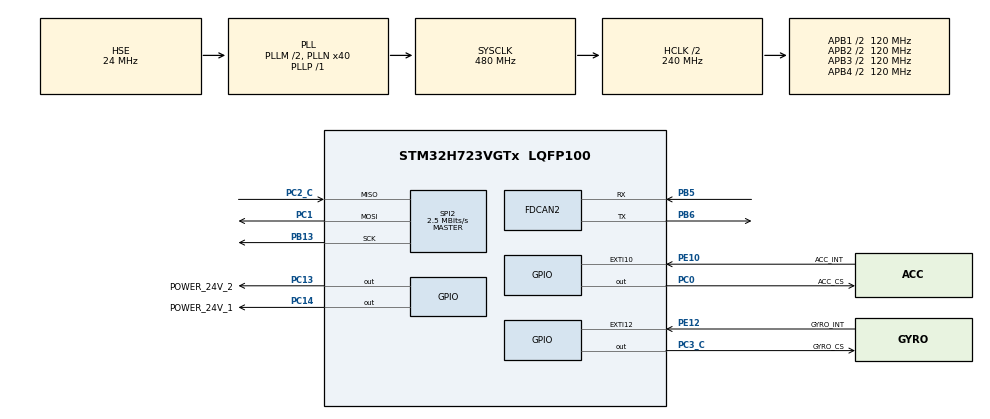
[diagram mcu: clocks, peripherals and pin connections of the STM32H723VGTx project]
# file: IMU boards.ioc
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Dma.Request0=SPI2_RX
Dma.Request1=SPI2_TX
Dma.SPI2_RX.0.Direction=DMA_PERIPH_TO_MEMORY
Dma.SPI2_RX.0.EventEnable=DISABLE
Dma.SPI2_RX.0.FIFOMode=DMA_FIFOMODE_DISABLE
Dma.SPI2_RX.0.Instance=DMA1_Stream0
Dma.SPI2_RX.0.MemDataAlignment=DMA_MDATAALIGN_BYTE
Dma.SPI2_RX.0.MemInc=DMA_MINC_ENABLE
Dma.SPI2_RX.0.Mode=DMA_NORMAL
Dma.SPI2_RX.0.PeriphDataAlignment=DMA_PDATAALIGN_BYTE
Dma.SPI2_RX.0.PeriphInc=DMA_PINC_DISABLE
Dma.SPI2_RX.0.Polarity=HAL_DMAMUX_REQ_GEN_RISING
Dma.SPI2_RX.0.Priority=DMA_PRIORITY_VERY_HIGH
Dma.SPI2_RX.0.RequestNumber=1
Dma.SPI2_RX.0.SignalID=NONE
Dma.SPI2_RX.0.SyncEnable=DISABLE
Dma.SPI2_RX.0.SyncPolarity=HAL_DMAMUX_SYNC_NO_EVENT
Dma.SPI2_RX.0.SyncRequestNumber=1
Dma.SPI2_RX.0.SyncSignalID=NONE
Dma.SPI2_TX.1.Direction=DMA_MEMORY_TO_PERIPH
Dma.SPI2_TX.1.EventEnable=DISABLE
Dma.SPI2_TX.1.FIFOMode=DMA_FIFOMODE_DISABLE
Dma.SPI2_TX.1.Instance=DMA1_Stream1
Dma.SPI2_TX.1.MemDataAlignment=DMA_MDATAALIGN_BYTE
Dma.SPI2_TX.1.MemInc=DMA_MINC_ENABLE
Dma.SPI2_TX.1.Mode=DMA_NORMAL
Dma.SPI2_TX.1.PeriphDataAlignment=DMA_PDATAALIGN_BYTE
Dma.SPI2_TX.1.PeriphInc=DMA_PINC_DISABLE
Dma.SPI2_TX.1.Polarity=HAL_DMAMUX_REQ_GEN_RISING
Dma.SPI2_TX.1.Priority=DMA_PRIORITY_HIGH
Dma.SPI2_TX.1.RequestNumber=1
Dma.SPI2_TX.1.SignalID=NONE
Dma.SPI2_TX.1.SyncEnable=DISABLE
Dma.SPI2_TX.1.SyncPolarity=HAL_DMAMUX_SYNC_NO_EVENT
Dma.SPI2_TX.1.SyncRequestNumber=1
Dma.SPI2_TX.1.SyncSignalID=NONE
FDCAN2.AutoRetransmission=ENABLE
FDCAN2.CalculateBaudRateNominal=1000000
FDCAN2.CalculateTimeBitNominal=1000
FDCAN2.CalculateTimeQuantumNominal=12.5
FDCAN2.DataSyncJumpWidth=2
FDCAN2.DataTimeSeg1=13
FDCAN2.ExtFiltersNbr=4
FDCAN2.MessageRAMOffset=0x406
FDCAN2.NominalPrescaler=1
FDCAN2.NominalSyncJumpWidth=20
FDCAN2.NominalTimeSeg1=59
FDCAN2.NominalTimeSeg2=20
FDCAN2.ProtocolException=ENABLE
FDCAN2.RxBuffersNbr=3
FDCAN2.RxFifo0ElmtsNbr=8
FDCAN2.RxFifo1ElmtsNbr=8
FDCAN2.StdFiltersNbr=4
FDCAN2.TxBuffersNbr=8
FDCAN2.TxEventsNbr=8
FDCAN2.TxFifoQueueElmtsNbr=8
Mcu.Family=STM32H7
Mcu.Name=STM32H723VGTx
Mcu.Package=LQFP100
NVIC.DMA1_Stream0_IRQn=true\:1\:0\:true\:false\:true\:false\:true\:true
NVIC.DMA1_Stream1_IRQn=true\:2\:0\:true\:false\:true\:false\:true\:true
NVIC.FDCAN2_IT0_IRQn=true\:0\:0\:false\:false\:true\:true\:true\:true
NVIC.FDCAN2_IT1_IRQn=true\:0\:0\:false\:false\:true\:true\:true\:true
NVIC.PriorityGroup=NVIC_PRIORITYGROUP_4
NVIC.SPI2_IRQn=true\:5\:0\:true\:false\:true\:false\:true\:true
NVIC.TIM1_BRK_IRQn=true\:0\:0\:false\:false\:true\:true\:true\:true
NVIC.TIM1_CC_IRQn=true\:0\:0\:false\:false\:true\:true\:true\:true
NVIC.TIM1_TRG_COM_IRQn=true\:0\:0\:false\:false\:true\:true\:true\:true
NVIC.TIM1_UP_IRQn=true\:0\:0\:false\:false\:true\:true\:true\:true
NVIC.TIM2_IRQn=true\:0\:0\:false\:false\:true\:true\:true\:true
PA13(JTMS/SWDIO).Mode=Serial_Wire
PA13(JTMS/SWDIO).Signal=DEBUG_JTMS-SWDIO
PA14(JTCK/SWCLK).Mode=Serial_Wire
PA14(JTCK/SWCLK).Signal=DEBUG_JTCK-SWCLK
PB13.GPIO_Speed=GPIO_SPEED_FREQ_VERY_HIGH
PB13.Mode=Full_Duplex_Master
PB13.Signal=SPI2_SCK
PB5.Mode=FDCAN_Activate
PB5.Signal=FDCAN2_RX
PB6.Mode=FDCAN_Activate
PB6.Signal=FDCAN2_TX
PC0.GPIO_Label=ACC_CS
PC0.GPIO_Speed=GPIO_SPEED_FREQ_VERY_HIGH
PC0.PinState=GPIO_PIN_SET
PC0.Signal=GPIO_Output
PC1.GPIO_Speed=GPIO_SPEED_FREQ_VERY_HIGH
PC1.Mode=Full_Duplex_Master
PC1.Signal=SPI2_MOSI
PC13.GPIO_Label=POWER_24V_2
PC13.PinState=GPIO_PIN_SET
PC13.Signal=GPIO_Output
PC14-OSC32_IN.GPIO_Label=POWER_24V_1
PC14-OSC32_IN.PinState=GPIO_PIN_SET
PC14-OSC32_IN.Signal=GPIO_Output
PC2_C.GPIO_Speed=GPIO_SPEED_FREQ_VERY_HIGH
PC2_C.Mode=Full_Duplex_Master
PC2_C.Signal=SPI2_MISO
PC3_C.GPIO_Label=GYRO_CS
PC3_C.GPIO_Speed=GPIO_SPEED_FREQ_VERY_HIGH
PC3_C.PinState=GPIO_PIN_SET
PC3_C.Signal=GPIO_Output
PE10.GPIO_Label=ACC_INT
PE10.Signal=GPXTI10
PE12.GPIO_Label=GYRO_INT
PE12.Signal=GPXTI12
PH0-OSC_IN.Mode=HSE-External-Oscillator
PH0-OSC_IN.Signal=RCC_OSC_IN
PH1-OSC_OUT.Mode=HSE-External-Oscillator
PH1-OSC_OUT.Signal=RCC_OSC_OUT
ProjectManager.HeapSize=0x200
ProjectManager.StackSize=0x800
ProjectManager.TargetToolchain=MDK-ARM V5.27
RCC.ADCFreq_Value=48375000
RCC.APB1Freq_Value=120000000
RCC.APB2Freq_Value=120000000
RCC.APB3Freq_Value=120000000
RCC.APB4Freq_Value=120000000
RCC.CortexFreq_Value=480000000
RCC.D1PPRE=RCC_APB3_DIV2
RCC.D2PPRE1=RCC_APB1_DIV2
RCC.D2PPRE2=RCC_APB2_DIV2
RCC.D3PPRE=RCC_APB4_DIV2
RCC.DIVM1=2
RCC.DIVN1=40
RCC.DIVP1=1
RCC.DIVQ1=6
RCC.HCLKFreq_Value=240000000
RCC.HPRE=RCC_HCLK_DIV2
RCC.HSE_VALUE=24000000
RCC.PLL2FRACN=0
RCC.PLL3FRACN=0
RCC.PLLFRACN=0
RCC.PLLSourceVirtual=RCC_PLLSOURCE_HSE
RCC.SYSCLKFreq_VALUE=480000000
RCC.SYSCLKSource=RCC_SYSCLKSOURCE_PLLCLK
RCC.USBFreq_Value=80000000
SPI2.BaudRatePrescaler=SPI_BAUDRATEPRESCALER_32
SPI2.CLKPhase=SPI_PHASE_2EDGE
SPI2.CLKPolarity=SPI_POLARITY_HIGH
SPI2.CalculateBaudRate=2.5 MBits/s
SPI2.DataSize=SPI_DATASIZE_8BIT
SPI2.Direction=SPI_DIRECTION_2LINES
SPI2.Mode=SPI_MODE_MASTER
SPI2.VirtualType=VM_MASTER
TIM1.Period=10-1
TIM1.Prescaler=24000-1
TIM1.RepetitionCounter=0
TIM2.Period=50-1
TIM2.Prescaler=24000-1
VP_MEMORYMAP_VS_MEMORYMAP.Mode=CurAppReg
VP_TIM1_VS_ClockSourceINT.Mode=Internal
VP_TIM2_VS_ClockSourceINT.Mode=Internal
board=custom

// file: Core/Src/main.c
/* USER CODE BEGIN Header */
/**
  ******************************************************************************
  * @file           : main.c
  * @brief          : Main program body
  ******************************************************************************
  * @attention
  *
  * Copyright (c) 2024 STMicroelectronics.
  * All rights reserved.
  *
  * This software is licensed under terms that can be found in the LICENSE file
  * in the root directory of this software component.
  * If no LICENSE file comes with this software, it is provided AS-IS.
  *
  ******************************************************************************
  */
/* USER CODE END Header */
#include "main.h"
#include "dma.h"
#include "fdcan.h"
#include "spi.h"
#include "tim.h"
#include "gpio.h"

/* USER CODE BEGIN Includes */
#include "BMI088driver.h"
#include "imu_task.h"
#include <string.h>
/* USER CODE END Includes */

void SystemClock_Config(void);

/* USER CODE BEGIN 0 */
float gyro[3], accel[3], temp;
int16_t gyro_raw[3], accel_raw[3];
float IMU_fusion_task_count = 0.0f;
float can_bus_task_count = 0.0f;
uint8_t can_tx1[8];
uint8_t can_tx2[8];
uint8_t can_tx3[8];
/*
ID:
Thigh tx1 = 10
Thigh tx2 = 11
Thigh tx3 = 12
Shank tx1 = 13
Shank tx2 = 14
Shank tx3 = 15
*/
FDCAN_TxHeaderTypeDef tx1Header =
{
  .Identifier = 13,
  .IdType = FDCAN_STANDARD_ID,
  .TxFrameType = FDCAN_DATA_FRAME,
  .DataLength = FDCAN_DLC_BYTES_8,
  .FDFormat = FDCAN_CLASSIC_CAN,
  .TxEventFifoControl = FDCAN_NO_TX_EVENTS
};
FDCAN_TxHeaderTypeDef tx2Header =
{
  .Identifier = 14,
  .IdType = FDCAN_STANDARD_ID,
  .TxFrameType = FDCAN_DATA_FRAME,
  .DataLength = FDCAN_DLC_BYTES_8,
  .FDFormat = FDCAN_CLASSIC_CAN,
  .TxEventFifoControl = FDCAN_NO_TX_EVENTS
};
FDCAN_TxHeaderTypeDef tx3Header =
{
  .Identifier = 15,
  .IdType = FDCAN_STANDARD_ID,
  .TxFrameType = FDCAN_DATA_FRAME,
  .DataLength = FDCAN_DLC_BYTES_8,
  .FDFormat = FDCAN_CLASSIC_CAN,
  .TxEventFifoControl = FDCAN_NO_TX_EVENTS
};
/* USER CODE END 0 */

int main(void)
{

  /* MCU Configuration--------------------------------------------------------*/

  /* Reset of all peripherals, Initializes the Flash interface and the Systick. */
  HAL_Init();

  /* Configure the system clock */
  SystemClock_Config();

  /* Initialize all configured peripherals */
  MX_GPIO_Init();
  MX_DMA_Init();
  MX_SPI2_Init();
  MX_FDCAN2_Init();
  MX_TIM1_Init();
  MX_TIM2_Init();
  /* USER CODE BEGIN 2 */
    while(BMI088_init())
    {
        ;
    }
  AHRS_init(imuQuat);
  HAL_TIM_Base_Start_IT(&htim1);
  HAL_TIM_Base_Start_IT(&htim2);
  HAL_FDCAN_Start(&hfdcan2);
  /* USER CODE END 2 */

  /* Infinite loop */
  while (1)
  {

  }
}

void SystemClock_Config(void)
{
  RCC_OscInitTypeDef RCC_OscInitStruct = {0};
  RCC_ClkInitTypeDef RCC_ClkInitStruct = {0};

  /** Supply configuration update enable
  */
  HAL_PWREx_ConfigSupply(PWR_LDO_SUPPLY);

  /** Configure the main internal regulator output voltage
  */
  __HAL_PWR_VOLTAGESCALING_CONFIG(PWR_REGULATOR_VOLTAGE_SCALE0);

  while(!__HAL_PWR_GET_FLAG(PWR_FLAG_VOSRDY)) {}

  /** Initializes the RCC Oscillators according to the specified parameters
  * in the RCC_OscInitTypeDef structure.
  */
  RCC_OscInitStruct.OscillatorType = RCC_OSCILLATORTYPE_HSE;
  RCC_OscInitStruct.HSEState = RCC_HSE_ON;
  RCC_OscInitStruct.PLL.PLLState = RCC_PLL_ON;
  RCC_OscInitStruct.PLL.PLLSource = RCC_PLLSOURCE_HSE;
  RCC_OscInitStruct.PLL.PLLM = 2;
  RCC_OscInitStruct.PLL.PLLN = 40;
  RCC_OscInitStruct.PLL.PLLP = 1;
  RCC_OscInitStruct.PLL.PLLQ = 6;
  RCC_OscInitStruct.PLL.PLLR = 2;
  RCC_OscInitStruct.PLL.PLLRGE = RCC_PLL1VCIRANGE_3;
  RCC_OscInitStruct.PLL.PLLVCOSEL = RCC_PLL1VCOWIDE;
  RCC_OscInitStruct.PLL.PLLFRACN = 0;
  if (HAL_RCC_OscConfig(&RCC_OscInitStruct) != HAL_OK)
  {
    Error_Handler();
  }

  /** Initializes the CPU, AHB and APB buses clocks
  */
  RCC_ClkInitStruct.ClockType = RCC_CLOCKTYPE_HCLK|RCC_CLOCKTYPE_SYSCLK
                              |RCC_CLOCKTYPE_PCLK1|RCC_CLOCKTYPE_PCLK2
                              |RCC_CLOCKTYPE_D3PCLK1|RCC_CLOCKTYPE_D1PCLK1;
  RCC_ClkInitStruct.SYSCLKSource = RCC_SYSCLKSOURCE_PLLCLK;
  RCC_ClkInitStruct.SYSCLKDivider = RCC_SYSCLK_DIV1;
  RCC_ClkInitStruct.AHBCLKDivider = RCC_HCLK_DIV2;
  RCC_ClkInitStruct.APB3CLKDivider = RCC_APB3_DIV2;
  RCC_ClkInitStruct.APB1CLKDivider = RCC_APB1_DIV2;
  RCC_ClkInitStruct.APB2CLKDivider = RCC_APB2_DIV2;
  RCC_ClkInitStruct.APB4CLKDivider = RCC_APB4_DIV2;

  if (HAL_RCC_ClockConfig(&RCC_ClkInitStruct, FLASH_LATENCY_3) != HAL_OK)
  {
    Error_Handler();
  }
}

/* USER CODE BEGIN 4 */
void HAL_TIM_PeriodElapsedCallback(TIM_HandleTypeDef *htim)
{
  if (htim == &htim1)
  {
    BMI088_read(gyro, accel, &temp, gyro_raw, accel_raw);
    ImuTask(gyro, accel, temp);
    IMU_fusion_task_count += 0.001f;
  }
  else if (htim == &htim2)
  {
    memcpy(&can_tx1[0], accel_raw, 6);
    memcpy(&can_tx1[6], &gyro_raw[0], 2);
    memcpy(&can_tx2[0], &gyro_raw[1], 4);
    memcpy(&can_tx2[4], &imuAngleDeg[0], 4);
    memcpy(&can_tx3[0], &imuAngleDeg[1], 8);
    HAL_FDCAN_AddMessageToTxFifoQ(&hfdcan2, &tx1Header, (const uint8_t*)can_tx1);
    HAL_FDCAN_AddMessageToTxFifoQ(&hfdcan2, &tx2Header, (const uint8_t*)can_tx2);
    HAL_FDCAN_AddMessageToTxFifoQ(&hfdcan2, &tx3Header, (const uint8_t*)can_tx3);
    can_bus_task_count += 0.005f;
  }

}
/* USER CODE END 4 */

void Error_Handler(void)
{
  __disable_irq();
  while (1)
  {
  }
}
